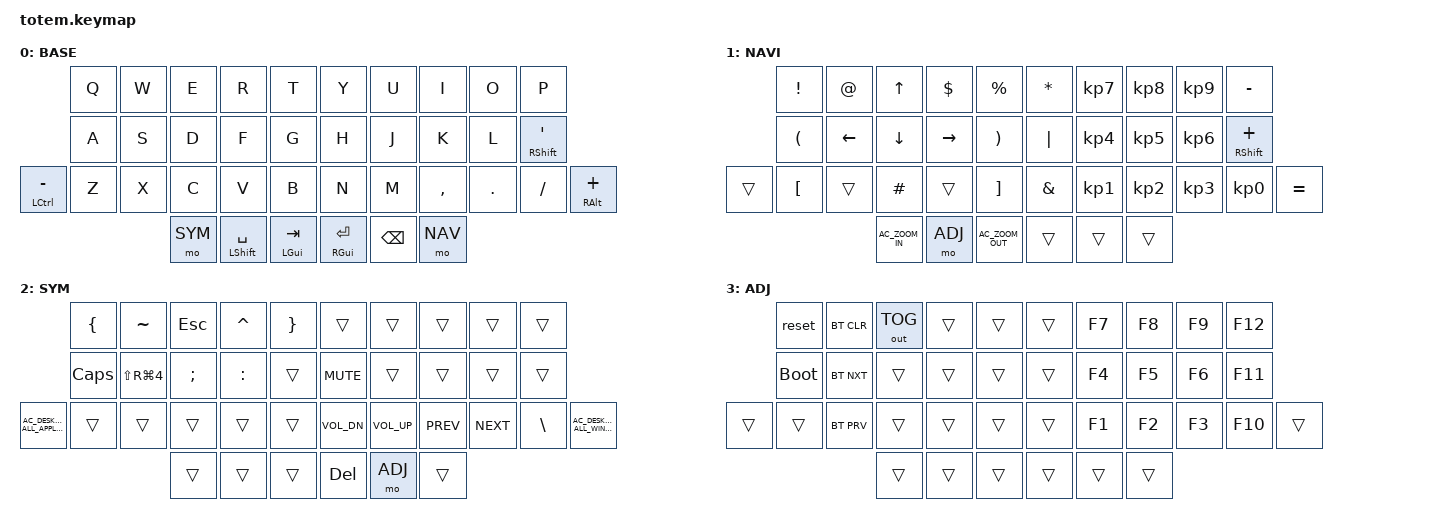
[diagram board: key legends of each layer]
//
//                                                        ▀▀▀▀▀     ▀▀▀▀▀          ▀▀█▀▀
//                                                        ▄▀▀▀▄  ▄  ▄▀▀▀▄  ▄  ▄▀▀▀▄  █  ▄▀▀▀▄
//                                                        █   █  █  █   █  █  █   █  █  █   █
//                                                         ▀▀▀   █   ▀▀▀   █   ▀▀▀   ▀   ▀▀▀
//                                                               █      ▄▄▄█▄▄▄    █   █
//                                                               ▀      █  █  █     █▄█
//                                                             ▀▀▀▀▀    █  █  █      ▀
//                                                                      ▀  ▀  ▀
//
// ▄▄▄▄▄▄▄▄▄▄▄▄▄▄▄▄▄▄▄▄▄▄▄▄▄▄▄▄▄▄▄▄▄▄▄▄▄▄▄▄▄▄▄▄▄▄▄▄▄▄▄▄▄▄▄▄▄▄▄▄▄▄▄▄▄▄▄▄▄▄▄▄▄▄▄▄▄▄▄▄▄▄▄▄▄▄▄▄▄▄▄▄▄▄▄▄▄▄▄▄▄▄▄▄▄▄▄▄▄▄▄▄▄▄▄▄▄▄▄▄▄▄▄▄▄▄▄▄▄▄▄▄▄▄▄▄▄▄▄▄▄▄▄▄▄▄▄▄▄


#include <behaviors.dtsi>
#include <dt-bindings/zmk/keys.h>
#include <dt-bindings/zmk/bt.h>
#include <dt-bindings/zmk/outputs.h>

#define BASE 0
#define NAV  1
#define SYM  2
#define ADJ  3

&mt {
  quick-tap-ms = <100>;
  global-quick-tap;
  flavor = "tap-preferred";
  tapping-term-ms = <160>;
};

/ {
    combos {
            compatible = "zmk,combos";
            combo_esc {
                timeout-ms = <50>;
                key-positions = <0 1>;
                bindings = <&kp ESC>;
            };
    };

    macros {
        gif: gif {
            label = "giphy";
            compatible = "zmk,behavior-macro";
            #binding-cells = <0>;
            bindings
                = <&macro_press &kp LSHFT>
                , <&macro_tap &kp N2>
                , <&macro_release &kp LSHFT>
                , <&macro_tap &kp G &kp I &kp F>
                ;
        };
    };

        keymap {
                compatible = "zmk,keymap";
// ▄▄▄▄▄▄▄▄▄▄▄▄▄▄▄▄▄▄▄▄▄▄▄▄▄▄▄▄▄▄▄▄▄▄▄▄▄▄▄▄▄▄▄▄▄▄▄▄▄▄▄▄▄▄▄▄▄▄▄▄▄▄▄▄▄▄▄▄▄▄▄▄▄▄▄▄▄▄▄▄▄▄▄▄▄▄▄▄▄▄▄▄▄▄▄▄▄▄▄▄▄▄▄▄▄▄▄▄▄▄▄▄▄▄▄▄▄▄▄▄▄▄▄▄▄▄▄▄▄▄▄▄▄▄▄▄▄▄▄▄▄▄▄▄▄▄▄▄▄

                base_layer {
// ┏━━━━━━━━━━━━━━━━━━━━━━━━━━━━━━━━━━━━━━━┓
label= "BASE"                              ;
// ┗━━━━━━━━━━━━━━━━━━━━━━━━━━━━━━━━━━━━━━━┛
//             ┏━━━━━━━━━━━┳━━━━━━━━━━━┳━━━━━━━━━━━┳━━━━━━━━━━━┳━━━━━━━━━━━┓   ┏━━━━━━━━━━━┳━━━━━━━━━━━┳━━━━━━━━━━━┳━━━━━━━━━━━┳━━━━━━━━━━━┓
//             ┃     Q     ┃     W     ┃     E     ┃     R     ┃     T     ┃   ┃     Y     ┃     U     ┃     I     ┃     O     ┃     P     ┃
//             ┣━━━━━━━━━━━╋━━━━━━━━━━━╋━━━━━━━━━━━╋━━━━━━━━━━━╋━━━━━━━━━━━┫   ┣━━━━━━━━━━━╋━━━━━━━━━━━╋━━━━━━━━━━━╋━━━━━━━━━━━╋━━━━━━━━━━━┫
//             ┃     A     ┃     S     ┃     D     ┃     F     ┃     G     ┃   ┃     H     ┃     J     ┃     K     ┃     L     ┃     '     ┃
// ┏━━━━━━━━━━━╋━━━━━━━━━━━╋━━━━━━━━━━━╋━━━━━━━━━━━╋━━━━━━━━━━━╋━━━━━━━━━━━┫   ┣━━━━━━━━━━━╋━━━━━━━━━━━╋━━━━━━━━━━━╋━━━━━━━━━━━╋━━━━━━━━━━━╋━━━━━━━━━━━┓
// ┃     -     ┃     Z     ┃     X     ┃     C     ┃     V     ┃     B     ┃   ┃     K     ┃     M     ┃     ,     ┃     .     ┃     /     ┃     +     ┃
// ┗━━━━━━━━━━━┻━━━━━━━━━━━┻━━━━━━━━━━━╋━━━━━━━━━━━╋━━━━━━━━━━━╋━━━━━━━━━━━┫   ┣━━━━━━━━━━━╋━━━━━━━━━━━╋━━━━━━━━━━━╋━━━━━━━━━━━┻━━━━━━━━━━━┻━━━━━━━━━━━┛
//                                     ┃    SYM    ┃    SPC    ┃    TAB    ┃   ┃   ENTER   ┃   BSPC    ┃    NAV    ┃
//                                     ┗━━━━━━━━━━━┻━━━━━━━━━━━┻━━━━━━━━━━━┛   ┗━━━━━━━━━━━┻━━━━━━━━━━━┻━━━━━━━━━━━┛
 bindings = <
// ╷           ╷           ╷           ╷           ╷           ╷           ╷   ╷           ╷           ╷           ╷           ╷           ╷           ╷

                    &kp Q       &kp W   &kp E     &kp R           &kp T         &kp Y        &kp U       &kp I       &kp O       &kp P
                    &kp A       &kp S   &kp D     &kp F           &kp G         &kp H        &kp J       &kp K       &kp L       &mt RSHFT APOS
    &mt LCTRL MINUS &kp Z       &kp X   &kp C     &kp V           &kp B         &kp N        &kp M       &kp COMMA   &kp DOT     &kp FSLH    &mt RALT PLUS
                                        &mo SYM   &mt LSHFT SPACE &mt LGUI TAB  &mt RGUI RET &kp BSPC    &mo NAV
                        >;
                };

// ▄▄▄▄▄▄▄▄▄▄▄▄▄▄▄▄▄▄▄▄▄▄▄▄▄▄▄▄▄▄▄▄▄▄▄▄▄▄▄▄▄▄▄▄▄▄▄▄▄▄▄▄▄▄▄▄▄▄▄▄▄▄▄▄▄▄▄▄▄▄▄▄▄▄▄▄▄▄▄▄▄▄▄▄▄▄▄▄▄▄▄▄▄▄▄▄▄▄▄▄▄▄▄▄▄▄▄▄▄▄▄▄▄▄▄▄▄▄▄▄▄▄▄▄▄▄▄▄▄▄▄▄▄▄▄▄▄▄▄▄▄▄▄▄▄▄▄▄▄


                nav_layer {
// ┏━━━━━━━━━━━━━━━━━━━━━━━━━━━━━━━━━━━━━━━┓
label= "NAVI"                              ;
// ┗━━━━━━━━━━━━━━━━━━━━━━━━━━━━━━━━━━━━━━━┛
//             ┏━━━━━━━━━━━┳━━━━━━━━━━━┳━━━━━━━━━━━┳━━━━━━━━━━━┳━━━━━━━━━━━┓   ┏━━━━━━━━━━━┳━━━━━━━━━━━┳━━━━━━━━━━━┳━━━━━━━━━━━┳━━━━━━━━━━━┓
//             ┃     !     ┃     @     ┃     UP    ┃    $      ┃     %     ┃   ┃     *     ┃     7     ┃     8     ┃     9     ┃     -     ┃
//             ┣━━━━━━━━━━━╋━━━━━━━━━━━╋━━━━━━━━━━━╋━━━━━━━━━━━╋━━━━━━━━━━━┫   ┣━━━━━━━━━━━╋━━━━━━━━━━━╋━━━━━━━━━━━╋━━━━━━━━━━━╋━━━━━━━━━━━┫
//             ┃     (     ┃   LEFT    ┃    DOWN   ┃   RIGHT   ┃     )     ┃   ┃     |     ┃     4     ┃     5     ┃     6     ┃     +     ┃
// ┏━━━━━━━━━━━╋━━━━━━━━━━━╋━━━━━━━━━━━╋━━━━━━━━━━━╋━━━━━━━━━━━╋━━━━━━━━━━━┫   ┣━━━━━━━━━━━╋━━━━━━━━━━━╋━━━━━━━━━━━╋━━━━━━━━━━━╋━━━━━━━━━━━╋━━━━━━━━━━━┓
// ┃   LSHFT   ┃     [     ┃           ┃     #     ┃           ┃     ]     ┃   ┃     &     ┃     1     ┃     2     ┃     3     ┃     0     ┃     =     ┃
// ┗━━━━━━━━━━━┻━━━━━━━━━━━┻━━━━━━━━━━━╋━━━━━━━━━━━╋━━━━━━━━━━━╋━━━━━━━━━━━┫   ┣━━━━━━━━━━━╋━━━━━━━━━━━╋━━━━━━━━━━━╋━━━━━━━━━━━┻━━━━━━━━━━━┻━━━━━━━━━━━┛
//                                     ┃   ZOOMIN  ┃    ADJ    ┃  ZOOMOUT  ┃   ┃           ┃           ┃           ┃
//                                     ┗━━━━━━━━━━━┻━━━━━━━━━━━┻━━━━━━━━━━━┛   ┗━━━━━━━━━━━┻━━━━━━━━━━━┻━━━━━━━━━━━┛
 bindings = <
// ╷           ╷           ╷           ╷           ╷           ╷           ╷   ╷           ╷           ╷           ╷           ╷           ╷           ╷

                &kp EXCL     &kp AT    &kp UP           &kp DLLR  &kp PRCNT         &kp STAR  &kp KP_N7   &kp KP_N8   &kp KP_N9   &kp MINUS
                &kp LPAR     &kp LEFT  &kp DOWN         &kp RIGHT &kp RPAR          &kp PIPE  &kp KP_N4   &kp KP_N5   &kp KP_N6   &mt RSHFT PLUS
     &trans     &kp LBKT     &trans    &kp HASH         &trans    &kp RBKT          &kp AMPS  &kp KP_N1   &kp KP_N2   &kp KP_N3   &kp KP_N0    &kp EQUAL
                                       &kp C_AC_ZOOM_IN &mo ADJ   &kp C_AC_ZOOM_OUT &trans    &trans      &trans
                        >;
                };

// ▄▄▄▄▄▄▄▄▄▄▄▄▄▄▄▄▄▄▄▄▄▄▄▄▄▄▄▄▄▄▄▄▄▄▄▄▄▄▄▄▄▄▄▄▄▄▄▄▄▄▄▄▄▄▄▄▄▄▄▄▄▄▄▄▄▄▄▄▄▄▄▄▄▄▄▄▄▄▄▄▄▄▄▄▄▄▄▄▄▄▄▄▄▄▄▄▄▄▄▄▄▄▄▄▄▄▄▄▄▄▄▄▄▄▄▄▄▄▄▄▄▄▄▄▄▄▄▄▄▄▄▄▄▄▄▄▄▄▄▄▄▄▄▄▄▄▄▄▄


                sim_layer {
// ┏━━━━━━━━━━━━━━━━━━━━━━━━━━━━━━━━━━━━━━━┓
label= "SYM"                               ;
// ┗━━━━━━━━━━━━━━━━━━━━━━━━━━━━━━━━━━━━━━━┛
//             ┏━━━━━━━━━━━┳━━━━━━━━━━━┳━━━━━━━━━━━┳━━━━━━━━━━━┳━━━━━━━━━━━┓   ┏━━━━━━━━━━━┳━━━━━━━━━━━┳━━━━━━━━━━━┳━━━━━━━━━━━┳━━━━━━━━━━━┓
//             ┃     {     ┃     ~     ┃    ESC    ┃     ~     ┃     }     ┃   ┃           ┃           ┃           ┃           ┃           ┃
//             ┣━━━━━━━━━━━╋━━━━━━━━━━━╋━━━━━━━━━━━╋━━━━━━━━━━━╋━━━━━━━━━━━┫   ┣━━━━━━━━━━━╋━━━━━━━━━━━╋━━━━━━━━━━━╋━━━━━━━━━━━╋━━━━━━━━━━━┫
//             ┃   CAPS    ┃  SCRNSHT  ┃     ;     ┃     :     ┃           ┃   ┃   MUTE    ┃           ┃           ┃           ┃           ┃
// ┏━━━━━━━━━━━╋━━━━━━━━━━━╋━━━━━━━━━━━╋━━━━━━━━━━━╋━━━━━━━━━━━╋━━━━━━━━━━━┫   ┣━━━━━━━━━━━╋━━━━━━━━━━━╋━━━━━━━━━━━╋━━━━━━━━━━━╋━━━━━━━━━━━╋━━━━━━━━━━━┓
// ┃  SHOWAPPS ┃           ┃           ┃           ┃           ┃           ┃   ┃   VOL-    ┃   VOL+    ┃   LAST    ┃   NEXT    ┃     \     ┃SHOWWINDOWS┃
// ┗━━━━━━━━━━━┻━━━━━━━━━━━┻━━━━━━━━━━━╋━━━━━━━━━━━╋━━━━━━━━━━━╋━━━━━━━━━━━┫   ┣━━━━━━━━━━━╋━━━━━━━━━━━╋━━━━━━━━━━━╋━━━━━━━━━━━┻━━━━━━━━━━━┻━━━━━━━━━━━┛
//                                     ┃           ┃           ┃           ┃   ┃    DEL    ┃    ADJ    ┃           ┃
//                                     ┗━━━━━━━━━━━┻━━━━━━━━━━━┻━━━━━━━━━━━┛   ┗━━━━━━━━━━━┻━━━━━━━━━━━┻━━━━━━━━━━━┛
 bindings = <
// ╷           ╷           ╷           ╷           ╷           ╷           ╷   ╷           ╷           ╷           ╷           ╷           ╷           ╷

                &kp LBRC    &kp TILDE      &kp ESC     &kp CARET   &kp RBRC        &trans       &trans       &trans     &trans     &trans
                &kp CAPS    &kp LS(RG(N4)) &kp SEMI    &kp COLON   &trans          &kp C_MUTE   &trans       &trans     &trans     &trans
    &kp C_AC_DESKTOP_SHOW_ALL_APPLICATIONS      &trans      &trans         &trans      &trans      &trans          &kp C_VOL_DN &kp C_VOL_UP   &kp C_PREV &kp C_NEXT  &kp BSLH   &kp C_AC_DESKTOP_SHOW_ALL_WINDOWS
                                           &trans      &trans      &trans          &kp DEL      &mo ADJ       &trans
                        >;
                };

// ▄▄▄▄▄▄▄▄▄▄▄▄▄▄▄▄▄▄▄▄▄▄▄▄▄▄▄▄▄▄▄▄▄▄▄▄▄▄▄▄▄▄▄▄▄▄▄▄▄▄▄▄▄▄▄▄▄▄▄▄▄▄▄▄▄▄▄▄▄▄▄▄▄▄▄▄▄▄▄▄▄▄▄▄▄▄▄▄▄▄▄▄▄▄▄▄▄▄▄▄▄▄▄▄▄▄▄▄▄▄▄▄▄▄▄▄▄▄▄▄▄▄▄▄▄▄▄▄▄▄▄▄▄▄▄▄▄▄▄▄▄▄▄▄▄▄▄▄▄


                adjust_layer {
// ┏━━━━━━━━━━━━━━━━━━━━━━━━━━━━━━━━━━━━━━━┓
label= "ADJ"                               ;
// ┗━━━━━━━━━━━━━━━━━━━━━━━━━━━━━━━━━━━━━━━┛
//             ┏━━━━━━━━━━━┳━━━━━━━━━━━┳━━━━━━━━━━━┳━━━━━━━━━━━┳━━━━━━━━━━━┓   ┏━━━━━━━━━━━┳━━━━━━━━━━━┳━━━━━━━━━━━┳━━━━━━━━━━━┳━━━━━━━━━━━┓
//             ┃   RESET   ┃ BT CLEAR  ┃  OUT TOG  ┃           ┃           ┃   ┃           ┃    F7     ┃    F8     ┃    F9     ┃    F12    ┃
//             ┣━━━━━━━━━━━╋━━━━━━━━━━━╋━━━━━━━━━━━╋━━━━━━━━━━━╋━━━━━━━━━━━┫   ┣━━━━━━━━━━━╋━━━━━━━━━━━╋━━━━━━━━━━━╋━━━━━━━━━━━╋━━━━━━━━━━━┫
//             ┃ BOOTLOAD  ┃ BT NEXT   ┃           ┃           ┃           ┃   ┃           ┃    F4     ┃    F5     ┃    F6     ┃    F11    ┃
// ┏━━━━━━━━━━━╋━━━━━━━━━━━╋━━━━━━━━━━━╋━━━━━━━━━━━╋━━━━━━━━━━━╋━━━━━━━━━━━┫   ┣━━━━━━━━━━━╋━━━━━━━━━━━╋━━━━━━━━━━━╋━━━━━━━━━━━╋━━━━━━━━━━━╋━━━━━━━━━━━┓
// ┃           ┃           ┃ BT PREV   ┃           ┃           ┃           ┃   ┃           ┃    F1     ┃    F2     ┃    F3     ┃    F10    ┃           ┃
// ┗━━━━━━━━━━━┻━━━━━━━━━━━┻━━━━━━━━━━━╋━━━━━━━━━━━╋━━━━━━━━━━━╋━━━━━━━━━━━┫   ┣━━━━━━━━━━━╋━━━━━━━━━━━╋━━━━━━━━━━━╋━━━━━━━━━━━┻━━━━━━━━━━━┻━━━━━━━━━━━┛
//                                     ┃           ┃           ┃           ┃   ┃           ┃           ┃           ┃
//                                     ┗━━━━━━━━━━━┻━━━━━━━━━━━┻━━━━━━━━━━━┛   ┗━━━━━━━━━━━┻━━━━━━━━━━━┻━━━━━━━━━━━┛
 bindings = <
// ╷           ╷           ╷           ╷           ╷           ╷           ╷   ╷           ╷           ╷           ╷           ╷           ╷           ╷

                &reset      &bt BT_CLR &out OUT_TOG &trans      &trans          &trans      &kp F7      &kp F8      &kp F9      &kp F12
                &bootloader &bt BT_NXT  &trans      &trans      &trans          &trans      &kp F4      &kp F5      &kp F6      &kp F11
    &trans      &trans      &bt BT_PRV  &trans      &trans      &trans          &trans      &kp F1      &kp F2      &kp F3      &kp F10     &trans
                                        &trans      &trans      &trans          &trans      &trans      &trans
                        >;
                };
        };
};
